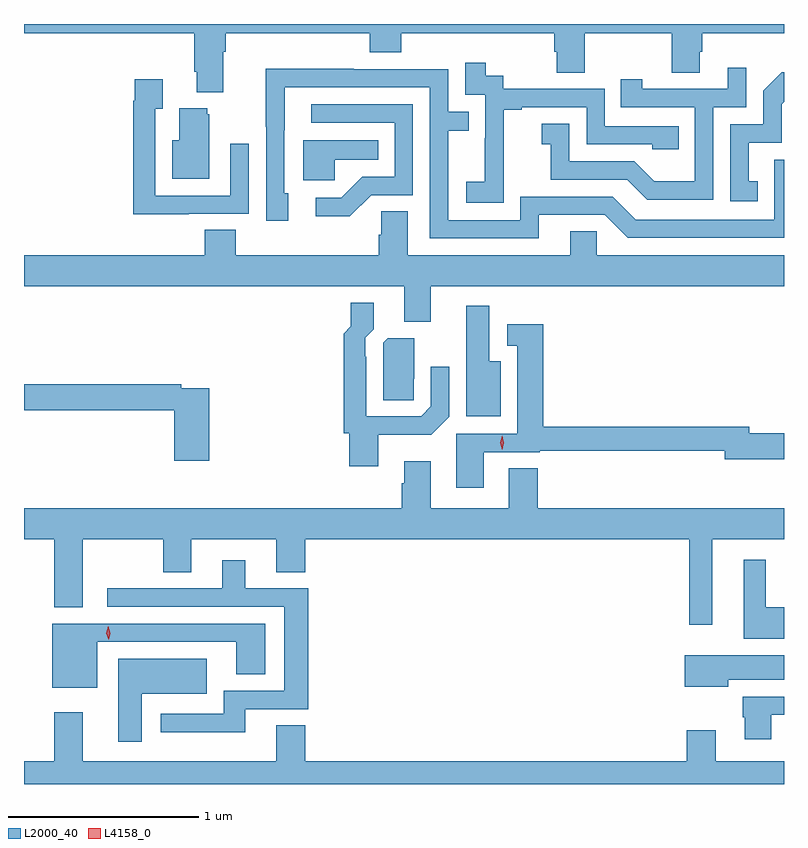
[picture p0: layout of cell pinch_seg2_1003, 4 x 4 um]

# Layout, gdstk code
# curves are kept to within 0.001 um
import gdstk
lib = gdstk.Library(unit=1e-6, precision=1e-09)
def P(c, l, *ps):  # polygons
    for p in ps: c.add(gdstk.Polygon(p, *l))
L2000_40 = (2000, 40)
L4158_0 = (4158, 0)

pinch_seg2_1003 = lib.new_cell('pinch_seg2_1003')
P(pinch_seg2_1003, L2000_40, [(255.055,604.916),(255.068,604.916),(255.068,605.012),(255.827,605.012),(255.827,604.913),(255.992,604.913),(255.992,605.012),(256.799,605.012),(256.799,604.914),(256.811,604.914),(256.811,604.804),(256.959,604.804),(256.959,605.012),(257.416,605.012),(257.416,604.804),(257.563,604.804),(257.563,604.914),(257.576,604.914),(257.576,605.012),(258.007,605.012),(258.007,605.061),(254.007,605.061),(254.007,605.012),(254.903,605.012),(254.903,604.81),(254.915,604.81),(254.915,604.703),(255.055,604.703)],
  [(256.533,604.327),(256.532,604.327),(256.532,604.611),(256.627,604.611),(256.627,604.623),(256.968,604.623),(256.968,604.428),(257.313,604.428),(257.313,604.401),(257.453,604.401),(257.453,604.524),(257.064,604.524),(257.064,604.719),(256.53,604.719),(256.53,604.788),(256.438,604.788),(256.438,604.858),(256.329,604.858),(256.329,604.689),(256.434,604.689),(256.434,604.46),(256.433,604.46),(256.433,604.231),(256.335,604.231),(256.335,604.121),(256.533,604.121)],
  [(257.634,604.623),(257.808,604.623),(257.808,604.831),(257.711,604.831),(257.711,604.719),(257.26,604.719),(257.26,604.771),(257.149,604.771),(257.149,604.623),(257.538,604.623),(257.538,604.234),(257.324,604.234),(257.22,604.338),(256.878,604.338),(256.878,604.537),(256.731,604.537),(256.731,604.427),(256.779,604.427),(256.779,604.242),(257.183,604.242),(257.288,604.137),(257.634,604.137)],
  [(256.717,604.056),(257.064,604.056),(257.184,603.936),(258.007,603.936),(258.007,604.347),(257.955,604.347),(257.955,604.032),(257.226,604.032),(257.106,604.152),(256.62,604.152),(256.62,604.029),(256.239,604.029),(256.239,604.498),(256.349,604.498),(256.349,604.599),(256.239,604.599),(256.239,604.824),(255.743,604.824),(255.743,604.826),(255.28,604.826),(255.28,604.519),(255.282,604.519),(255.282,604.026),(255.397,604.026),(255.397,604.17),(255.378,604.17),(255.379,604.728),(256.143,604.728),(256.143,603.933),(256.717,603.933)],
  [(257.87,604.233),(257.821,604.233),(257.821,604.437),(257.994,604.437),(257.994,604.638),(258.007,604.651),(258.007,604.808),(257.996,604.808),(257.898,604.71),(257.898,604.533),(257.724,604.533),(257.724,604.128),(257.87,604.128)],
  [(254.873,604.062),(255.189,604.062),(255.189,604.432),(255.093,604.432),(255.093,604.158),(254.697,604.158),(254.697,604.615),(254.737,604.615),(254.737,604.771),(254.589,604.771),(254.589,604.658),(254.581,604.658),(254.581,604.061),(254.873,604.061)],
  [(255.834,604.161),(256.053,604.161),(256.053,604.638),(255.519,604.638),(255.519,604.542),(255.957,604.542),(255.957,604.257),(255.788,604.257),(255.677,604.146),(255.543,604.146),(255.543,604.049),(255.721,604.049)],
  [(254.983,604.587),(254.972,604.587),(254.972,604.618),(254.825,604.618),(254.825,604.45),(254.786,604.45),(254.786,604.247),(254.983,604.247)],
  [(255.642,604.346),(255.872,604.346),(255.872,604.45),(255.476,604.45),(255.476,604.238),(255.642,604.238)],
  [(256.147,603.68),(258.007,603.68),(258.007,603.844),(257.022,603.844),(257.022,603.971),(256.883,603.971),(256.883,603.844),(256.027,603.844),(256.027,604.076),(255.888,604.076),(255.888,603.953),(255.875,603.953),(255.875,603.844),(255.122,603.844),(255.122,603.977),(254.957,603.977),(254.957,603.844),(254.007,603.844),(254.007,603.68),(256.007,603.68),(256.007,603.493),(256.147,603.493)],
  [(255.871,602.9),(256.151,602.9),(256.245,602.994),(256.245,603.256),(256.149,603.256),(256.149,603.048),(256.098,602.997),(255.807,602.997),(255.807,603.311),(255.804,603.311),(255.804,603.411),(255.847,603.454),(255.847,603.595),(255.727,603.595),(255.727,603.471),(255.689,603.432),(255.689,603.25),(255.691,603.25),(255.691,602.907),(255.719,602.907),(255.719,602.733),(255.871,602.733)],
  [(256.516,603.286),(256.456,603.286),(256.456,603.577),(256.334,603.577),(256.334,602.996),(256.516,602.996)],
  [(256.426,602.808),(256.722,602.808),(256.722,602.814),(257.696,602.814),(257.696,602.771),(258.007,602.771),(258.007,602.906),(257.824,602.906),(257.824,602.942),(256.739,602.942),(256.739,603.481),(256.551,603.481),(256.551,603.368),(256.604,603.368),(256.604,602.904),(256.283,602.904),(256.283,602.619),(256.426,602.619)],
  [(256.059,603.193),(256.06,603.193),(256.06,603.408),(255.921,603.408),(255.897,603.384),(255.897,603.082),(256.059,603.082)],
  [(254.981,603.144),(254.834,603.144),(254.834,603.164),(254.007,603.164),(254.007,603.028),(254.798,603.028),(254.798,602.763),(254.981,602.763)],
  [(257.629,602.348),(258.007,602.348),(258.007,602.512),(256.712,602.512),(256.712,602.723),(256.559,602.723),(256.559,602.512),(256.147,602.512),(256.147,602.761),(256.007,602.761),(256.007,602.645),(255.995,602.645),(255.995,602.512),(254.007,602.512),(254.007,602.348),(254.165,602.348),(254.165,601.991),(254.317,601.991),(254.317,602.348),(254.74,602.348),(254.74,602.176),(254.887,602.176),(254.887,602.348),(255.335,602.348),(255.335,602.176),(255.488,602.176),(255.488,602.348),(257.508,602.348),(257.508,601.899),(257.629,601.899)],
  [(258.007,601.99),(257.911,601.99),(257.911,602.242),(257.795,602.242),(257.795,601.826),(258.007,601.826)],
  [(255.172,601.455),(255.503,601.455),(255.503,602.091),(255.172,602.091),(255.172,602.239),(255.05,602.239),(255.05,602.091),(254.445,602.091),(254.445,601.995),(255.377,601.995),(255.377,601.551),(255.059,601.551),(255.059,601.431),(254.727,601.431),(254.727,601.334),(255.172,601.334)],
  [(254.392,601.809),(255.125,601.809),(255.125,601.638),(255.277,601.638),(255.277,601.905),(254.156,601.905),(254.156,601.568),(254.392,601.568)],
  [(257.713,601.61),(258.007,601.61),(258.007,601.738),(257.484,601.738),(257.484,601.574),(257.713,601.574)],
  [(254.626,601.535),(254.968,601.535),(254.968,601.72),(254.504,601.72),(254.504,601.284),(254.626,601.284)],
  [(257.941,601.425),(258.007,601.425),(258.007,601.521),(257.789,601.521),(257.789,601.413),(257.801,601.413),(257.801,601.296),(257.941,601.296)],
  [(258.007,601.18),(257.647,601.18),(257.647,601.345),(257.495,601.345),(257.495,601.18),(255.488,601.18),(255.488,601.37),(255.335,601.37),(255.335,601.18),(254.317,601.18),(254.317,601.438),(254.165,601.438),(254.165,601.18),(254.007,601.18),(254.007,601.061),(258.007,601.061)])
P(pinch_seg2_1003, L4158_0, [(256.523,602.821),(256.523,602.821),(256.513,602.857),(256.523,602.893),(256.523,602.893),(256.523,602.893),(256.533,602.857),(256.523,602.821)],
  [(254.452,601.819),(254.441,601.854),(254.45,601.89),(254.45,601.891),(254.45,601.89),(254.461,601.855),(254.453,601.819),(254.453,601.819)])

lib.write_gds('pinch_seg2_1003.gds')
